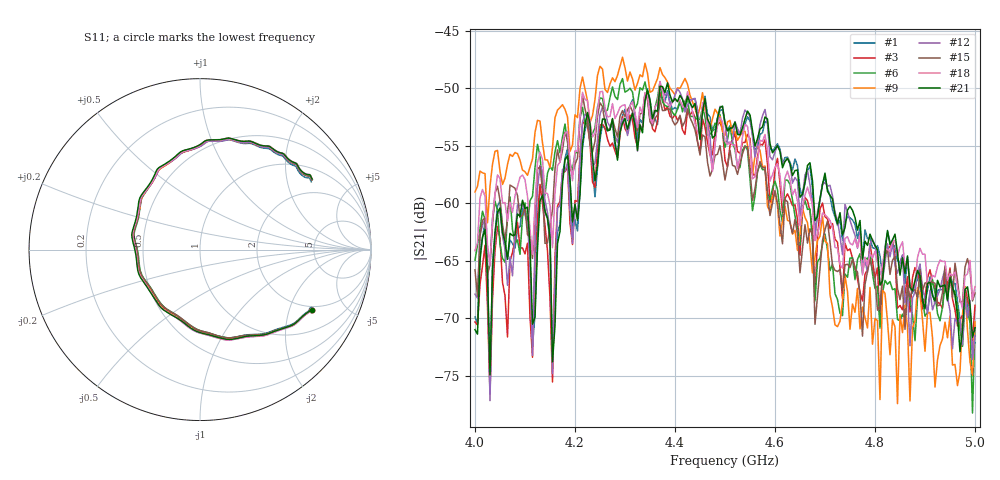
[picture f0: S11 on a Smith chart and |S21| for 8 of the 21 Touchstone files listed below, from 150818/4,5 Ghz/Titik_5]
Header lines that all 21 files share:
# Hz S RI R 50
! CMT, C1220, 16058040, 17.2.0/1
! Data: Format (Calibration Info)
! Freq  S11: Re/Im (F2)  S21: Re/Im (F2)  S12: Re/Im (F2)  S22: Re/Im (F2)
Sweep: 4 GHz to 5 GHz
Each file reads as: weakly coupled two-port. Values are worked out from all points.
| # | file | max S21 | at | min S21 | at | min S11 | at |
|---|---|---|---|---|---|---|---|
| 1 | Sudut_0_Titik_5.s2p | -50.07 dB | 4.345 GHz | -76.5 dB | 4.03 GHz | -8.6 dB | 4.36 GHz |
| 2 | Sudut_10_Titik_5.s2p | -51.13 dB | 4.385 GHz | -81.6 dB | 4.16 GHz | -8.7 dB | 4.36 GHz |
| 3 | Sudut_30_Titik_5.s2p | -50.38 dB | 4.37 GHz | -76.6 dB | 4.03 GHz | -8.7 dB | 4.36 GHz |
| 4 | Sudut_40_Titik_5.s2p | -50.19 dB | 4.34 GHz | -72.2 dB | 4.03 GHz | -8.8 dB | 4.36 GHz |
| 5 | Sudut_50_Titik_5.s2p | -50.03 dB | 4.34 GHz | -73.2 dB | 4.995 GHz | -8.8 dB | 4.36 GHz |
| 6 | Sudut_60_Titik_5.s2p | -49.18 dB | 4.295 GHz | -78.3 dB | 4.995 GHz | -8.8 dB | 4.36 GHz |
| 7 | Sudut_80_Titik_5.s2p | -47.89 dB | 4.25 GHz | -82.4 dB | 4.845 GHz | -8.6 dB | 4.36 GHz |
| 8 | Sudut_90_Titik_5.s2p | -47.26 dB | 4.295 GHz | -84.3 dB | 4.87 GHz | -8.6 dB | 4.36 GHz |
| 9 | Sudut_100_Titik_5.s2p | -47.32 dB | 4.295 GHz | -77.4 dB | 4.845 GHz | -8.7 dB | 4.36 GHz |
| 10 | Sudut_130_Titik_5.s2p | -49.02 dB | 4.25 GHz | -72.2 dB | 4.995 GHz | -8.6 dB | 4.36 GHz |
| 11 | Sudut_170_Titik_5.s2p | -50.82 dB | 4.315 GHz | -71.9 dB | 4.03 GHz | -8.6 dB | 4.365 GHz |
| 12 | Sudut_180_Titik_5.s2p | -49.95 dB | 4.37 GHz | -77.2 dB | 4.03 GHz | -8.6 dB | 4.36 GHz |
| 13 | Sudut_200_Titik_5.s2p | -50.36 dB | 4.345 GHz | -94.2 dB | 4.115 GHz | -8.6 dB | 4.36 GHz |
| 14 | Sudut_220_Titik_5.s2p | -50.25 dB | 4.37 GHz | -70.4 dB | 4.775 GHz | -8.9 dB | 4.36 GHz |
| 15 | Sudut_230_Titik_5.s2p | -50.44 dB | 4.34 GHz | -71.6 dB | 4.775 GHz | -8.8 dB | 4.36 GHz |
| 16 | Sudut_270_Titik_5.s2p | -47.44 dB | 4.34 GHz | -81.1 dB | 4.995 GHz | -8.6 dB | 4.36 GHz |
| 17 | Sudut_310_Titik_5.s2p | -49.17 dB | 4.37 GHz | -69.5 dB | 4.87 GHz | -8.7 dB | 4.365 GHz |
| 18 | Sudut_320_Titik_5.s2p | -49.44 dB | 4.37 GHz | -69.2 dB | 4.975 GHz | -8.6 dB | 4.365 GHz |
| 19 | Sudut_340_Titik_5.s2p | -50.14 dB | 4.37 GHz | -70.7 dB | 4.975 GHz | -8.5 dB | 4.36 GHz |
| 20 | Sudut_350_Titik_5.s2p | -50.62 dB | 4.46 GHz | -74.8 dB | 4.115 GHz | -8.5 dB | 4.36 GHz |
| 21 | Sudut_360_Titik_5.s2p | -49.56 dB | 4.385 GHz | -74.9 dB | 4.03 GHz | -8.5 dB | 4.36 GHz |
